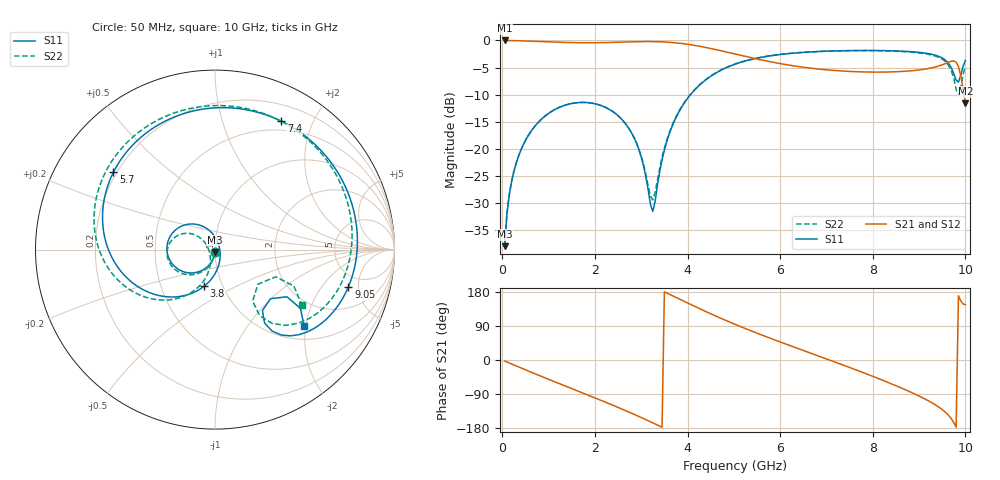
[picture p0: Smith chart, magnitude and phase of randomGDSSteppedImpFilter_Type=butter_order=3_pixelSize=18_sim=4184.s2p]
! freq	dB(S11)	phase(S11)	dB(S12)	phase(S12)
!  dB(S21)	phase(S21)	dB(S22)	phase(S22)
!S-par simulation data
#  GHz  S  DB  R 50
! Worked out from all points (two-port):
!   200 points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, 50 MHz to 10 GHz, reference 50 ohm
!   highest |S21| = -0.01 dB at 50 MHz (marker M1); lowest = -11.6 dB at 10 GHz (marker M2)
!   |S21| within 3 dB of the highest: start of sweep to 5.275 GHz
!   lowest |S11| = -38.0 dB at 50 MHz (marker M3), VSWR 1.03, Z = 49.9 - j1.26 ohm
!   |S11| at or under -10 dB: start of sweep to 4.065 GHz
!   |S22| runs from -38.0 to -1.9 dB; largest |S21 - S12| = 0
!   S11 on the Smith chart (normalised r, x): 50 MHz: 1.00, -0.03; 3.8 GHz: 0.82, -0.35; 5.7 GHz: 0.19, +0.33; 7.4 GHz: 0.39, +1.58; 9.05 GHz: 3.71, -3.81; 10 GHz: 1.32, -1.96
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0.05  -37.97 -92.5  -0.01 -2.6  -0.01 -2.6  -37.96 -92.2
0.1  -31.99 -95.4  -0.01 -5.2  -0.01 -5.2  -31.99 -94.9
0.2  -26.06 -101.1  -0.03 -10.4  -0.03 -10.4  -26.06 -100.2
0.5  -18.46 -117.6  -0.10 -25.9  -0.10 -25.9  -18.45 -115.2
1.15  -12.68 -151.9  -0.31 -58.4  -0.31 -58.4  -12.68 -146.2
1.75  -11.44 176.9  -0.42 -87.7  -0.42 -87.7  -11.43 -173.5
2.75  -16.47 118.8  -0.27 -138.2  -0.27 -138.2  -16.45 145.2
3  -21.50 96.5  -0.22 -151.8  -0.22 -151.8  -21.35 142.6
3.25  -31.56 6.3  -0.22 -165.9  -0.22 -165.9  -29.42 -158.5
3.4  -24.17 -64.0  -0.25 -174.5  -0.25 -174.5  -23.52 -112.2
3.8  -13.41 -106.6  -0.49 162.1  -0.49 162.1  -13.29 -112.8
4.4  -7.23 -146.4  -1.31 127.5  -1.31 127.5  -7.17 -140.8
5.05  -4.31 176.2  -2.56 92.9  -2.56 92.9  -4.27 -171.9
5.7  -2.96 142.7  -3.79 61.4  -3.79 61.4  -2.93 159.5
6.7  -2.10 95.0  -5.16 16.3  -5.16 16.3  -2.10 117.6
7.4  -1.88 62.6  -5.68 -15.1  -5.68 -15.1  -1.90 87.5
8.35  -1.89 18.6  -5.82 -60.2  -5.82 -60.2  -1.95 42.4
9.05  -2.25 -15.6  -5.39 -98.1  -5.39 -98.1  -2.35 2.4
9.5  -3.24 -41.8  -4.50 -130.8  -4.50 -130.8  -3.46 -31.8
9.75  -6.15 -56.0  -3.77 -165.4  -3.77 -165.4  -7.04 -55.9
9.85  -7.68 -41.4  -4.82 169.3  -4.82 169.3  -10.25 -38.9
10  -3.70 -40.5  -11.60 146.1  -11.60 146.1  -4.84 -32.5
